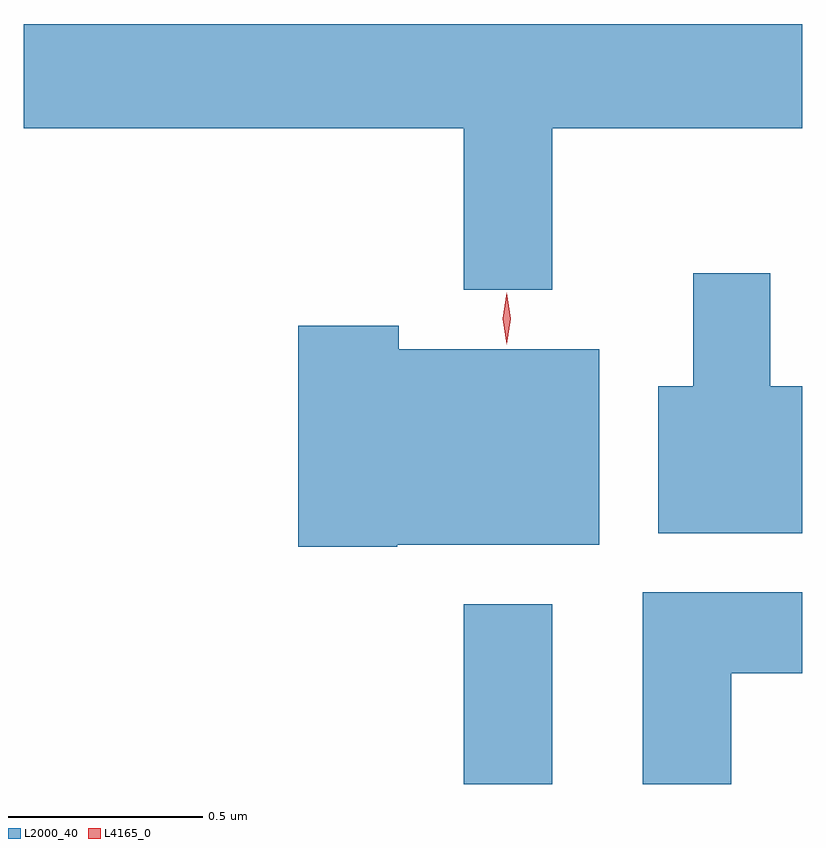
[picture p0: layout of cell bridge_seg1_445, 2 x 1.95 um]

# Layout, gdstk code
import gdstk
lib = gdstk.Library(unit=1e-6, precision=1e-09)
def R(c, l, rs):  # rectangles x0, y0, x1, y1
    for r in rs: c.add(gdstk.rectangle(r[:2], r[2:], *l))
def P(c, l, *ps):  # polygons
    for p in ps: c.add(gdstk.Polygon(p, *l))
L2000_40 = (2000, 40)
L4165_0 = (4165, 0)

bridge_seg1_445 = lib.new_cell('bridge_seg1_445')
R(bridge_seg1_445, L2000_40, [(200.521,884.572,200.749,885.034)])
P(bridge_seg1_445, L2000_40, [(200.749,886.256),(201.391,886.256),(201.391,886.524),(199.391,886.524),(199.391,886.256),(200.521,886.256),(200.521,885.841),(200.749,885.841)],
  [(201.391,885.594),(201.309,885.594),(201.309,885.884),(201.111,885.884),(201.111,885.594),(201.021,885.594),(201.021,885.216),(201.391,885.216)],
  [(200.35,885.186),(200.869,885.186),(200.869,885.689),(200.354,885.689),(200.354,885.749),(200.096,885.749),(200.096,885.181),(200.35,885.181)],
  [(201.209,884.856),(201.391,884.856),(201.391,885.064),(200.981,885.064),(200.981,884.572),(201.209,884.572)])
P(bridge_seg1_445, L4165_0, [(200.632,885.701),(200.632,885.701),(200.622,885.767),(200.632,885.834),(200.632,885.834),(200.632,885.834),(200.642,885.767),(200.632,885.701)])

lib.write_gds('bridge_seg1_445.gds')
